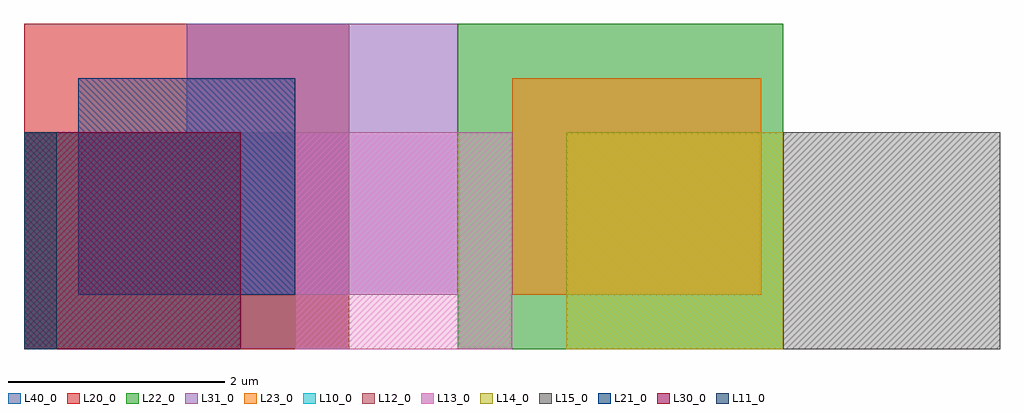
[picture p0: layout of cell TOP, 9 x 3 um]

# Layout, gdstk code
import gdstk
lib = gdstk.Library(unit=1e-6, precision=1e-09)
def R(c, l, rs):  # rectangles x0, y0, x1, y1
    for r in rs: c.add(gdstk.rectangle(r[:2], r[2:], *l))
def P(c, l, *ps):  # polygons
    for p in ps: c.add(gdstk.Polygon(p, *l))
L10_0 = (10, 0)
L11_0 = (11, 0)
L12_0 = (12, 0)
L13_0 = (13, 0)
L14_0 = (14, 0)
L15_0 = (15, 0)
L20_0 = (20, 0)
L21_0 = (21, 0)
L22_0 = (22, 0)
L23_0 = (23, 0)
L30_0 = (30, 0)
L31_0 = (31, 0)
L40_0 = (40, 0)

top = lib.new_cell('TOP')
R(top, L10_0, [(0,0,2,2)])
R(top, L11_0, [(0,0,0.3,2)])
R(top, L12_0, [(0,0,2,2)])
R(top, L13_0, [(2.5,0,4.5,2)])
R(top, L14_0, [(5,0,7,2)])
R(top, L15_0, [(7,0,9,2)])
R(top, L20_0, [(0,0,3,3)])
R(top, L21_0, [(0.5,0.5,2.5,2.5)])
R(top, L22_0, [(4,0,7,3)])
R(top, L23_0, [(4.5,0.5,6.8,2.5)])
R(top, L30_0, [(0,0,2,2)])
R(top, L31_0, [(1.5,0.5,4,3)])
R(top, L40_0, [(0,0,3,2)])
P(top, L40_0, [(0,0),(0,2),(1,2),(1,0.3),(2,0.3),(2,2),(3,2),(3,0)])

lib.write_gds('TOP.gds')
